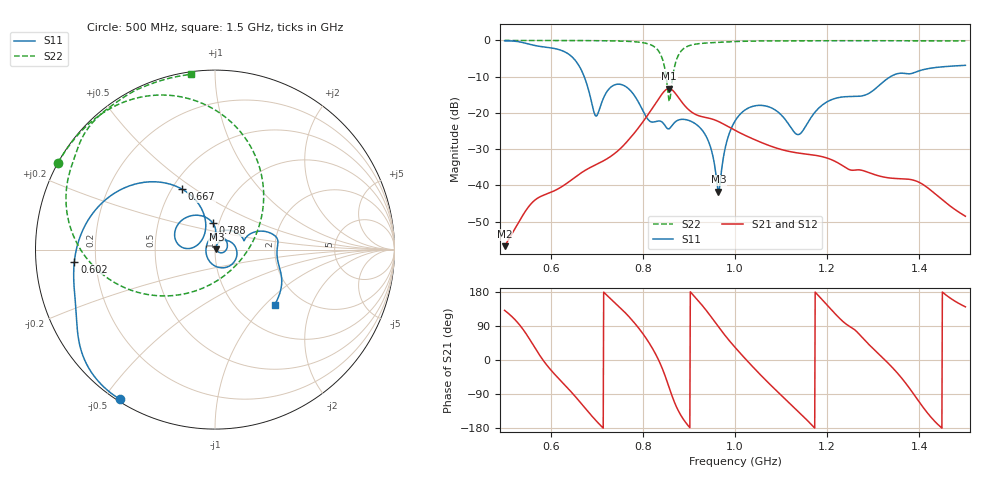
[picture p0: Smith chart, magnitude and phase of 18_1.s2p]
! TOUCHSTONE file generated by CST MICROWAVE STUDIO
! Date and time: Mon Oct 26 12:07:08 2020
! Project name: Scenario_1_Circular_Tissue_out_of_Line_v2.cst
! Parameters = {dy1=-51.9; L_HA=400; MT=2.54; Rad_Dielectric=30; Rad_Lower=7.3; Rad_Upper=30; a_HA=580; a_WG=246; b_HA=500; b_WG=121; c_HA=0; c_WG=187; d_feed=85; dx1=173; h_feed=15; h_lower=18; h_upper=40}
! Header version: 2018
! Port assignment regex: !\s*Touchstone port\s*([0-9]+)\s*=\s*(CST MWS port|CST DS port)\s*([0-9]+|Zmin|Zmax)\s*\(\"(.*)\"\)(\s*mode\s*([0-9]+))?.*
! Touchstone port assignment:
! Touchstone port 1 = CST MWS port 1 ("")
! Touchstone port 2 = CST MWS port 2 ("")
# GHz S DB R 50
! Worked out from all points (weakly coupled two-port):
!   1003 points, 500 MHz to 1.5 GHz, reference 50 ohm
!   highest |S21| = -13.27 dB at 857 MHz (marker M1); lowest = -56.8 dB at 500 MHz (marker M2)
!   lowest |S11| = -41.8 dB at 964 MHz (marker M3), VSWR 1.02, Z = 50.8 + j0.175 ohm
!   |S11| at or under -10 dB: 672.8 MHz to 1.337 GHz (664.5 MHz wide, 66.1 % of centre)
!   |S22| runs from -16.8 to 0.0 dB; largest |S21 - S12| = 0.00063
!   S11 on the Smith chart (normalised r, x): 500 MHz: 0.01, -0.55; 602 MHz: 0.12, -0.04; 667 MHz: 0.56, +0.44; 788 MHz: 0.93, +0.28; 1.5 GHz: 1.46, -1.14
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0.5  -0.10 -122.5  -56.75 131.0  -56.71 131.5  -0.01 151.1
0.557  -1.15 -151.4  -45.12 49.5  -45.13 49.5  -0.01 147.2
0.602  -2.09 -175.1  -41.81 -28.7  -41.82 -28.6  -0.02 143.9
0.643  -4.17 146.9  -38.68 -82.2  -38.70 -82.2  -0.03 140.6
0.667  -8.30 118.7  -36.47 -115.8  -36.48 -115.7  -0.04 138.3
0.698  -20.85 143.1  -34.28 -159.5  -34.28 -159.5  -0.07 135.1
0.74  -12.20 155.2  -31.07 150.2  -31.08 150.3  -0.13 129.3
0.788  -16.47 95.3  -24.52 88.7  -24.51 88.7  -0.42 117.8
0.834  -22.21 93.7  -16.17 0.3  -16.17 0.4  -2.89 82.8
0.847  -23.28 82.0  -13.95 -37.5  -13.95 -37.5  -7.30 51.2
0.857  -24.36 86.0  -13.27 -72.5  -13.27 -72.5  -16.63 -33.3
0.868  -22.76 83.2  -14.20 -109.6  -14.20 -109.6  -7.72 -141.3
0.889  -21.77 52.5  -17.72 -158.2  -17.72 -158.3  -2.21 176.7
0.937  -26.37 -19.4  -21.27 131.8  -21.27 131.9  -0.72 151.0
0.964  -41.75 12.1  -22.36 87.7  -22.39 87.8  -0.53 145.6
0.982  -27.97 65.1  -23.55 59.4  -23.57 59.7  -0.41 142.9
1  -22.25 42.5  -24.80 33.5  -24.78 33.7  -0.31 140.4
1.066  -18.06 -40.6  -28.61 -52.4  -28.61 -52.2  -0.14 132.8
1.137  -25.97 174.3  -31.06 -135.4  -30.99 -135.2  -0.11 126.4
1.167  -20.90 87.7  -31.55 -171.9  -31.52 -171.9  -0.11 124.1
1.334  -10.26 18.7  -37.92 -10.4  -37.92 -10.4  -0.09 111.4
1.5  -6.87 -43.0  -48.49 140.3  -48.49 140.2  -0.13 97.8
